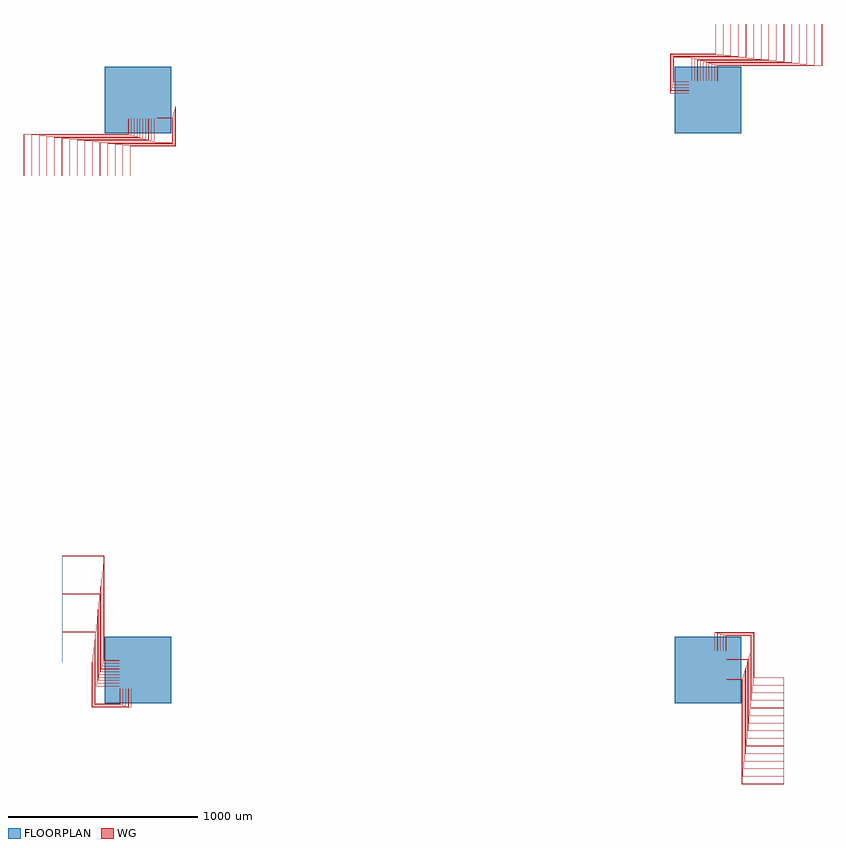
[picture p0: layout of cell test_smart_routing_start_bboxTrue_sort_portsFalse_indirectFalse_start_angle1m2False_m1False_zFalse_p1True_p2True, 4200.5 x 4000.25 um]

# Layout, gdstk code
import gdstk
lib = gdstk.Library(unit=1e-6, precision=1e-09)
def R(c, l, rs):  # rectangles x0, y0, x1, y1
    for r in rs: c.add(gdstk.rectangle(r[:2], r[2:], *l))
def P(c, l, *ps):  # polygons
    for p in ps: c.add(gdstk.Polygon(p, *l))
WG = (1, 0)
FLOORPLAN = (10, 0)

test_smart_routing_start = lib.new_cell('test_smart_routing_start_bboxTrue_sort_portsFalse_indirectFalse_start_angle1m2False_m1False_zFalse_p1True_p2True')
P(test_smart_routing_start, WG, [(3049.75,3100),(3049.75,3179.5),(3599.75,3179.5),(3599.75,3400),(3599.95,3400),(3599.95,3179.3),(3049.95,3179.3),(3049.95,3100)],
  [(3050.05,3100),(3050.05,3179.2),(3600.05,3179.2),(3600.05,3400),(3600.25,3400),(3600.25,3179),(3050.25,3179),(3050.25,3100)],
  [(3034.75,3100),(3034.75,3184),(3559.75,3184),(3559.75,3400),(3559.95,3400),(3559.95,3183.8),(3034.95,3183.8),(3034.95,3100)],
  [(3035.05,3100),(3035.05,3183.7),(3560.05,3183.7),(3560.05,3400),(3560.25,3400),(3560.25,3183.5),(3035.25,3183.5),(3035.25,3100)],
  [(3019.75,3100),(3019.75,3188.5),(3519.75,3188.5),(3519.75,3400),(3519.95,3400),(3519.95,3188.3),(3019.95,3188.3),(3019.95,3100)],
  [(3020.05,3100),(3020.05,3188.2),(3520.05,3188.2),(3520.05,3400),(3520.25,3400),(3520.25,3188),(3020.25,3188),(3020.25,3100)],
  [(3004.75,3100),(3004.75,3193),(3479.75,3193),(3479.75,3400),(3479.95,3400),(3479.95,3192.8),(3004.95,3192.8),(3004.95,3100)],
  [(3005.05,3100),(3005.05,3192.7),(3480.05,3192.7),(3480.05,3400),(3480.25,3400),(3480.25,3192.5),(3005.25,3192.5),(3005.25,3100)],
  [(2989.75,3100),(2989.75,3197.5),(3439.75,3197.5),(3439.75,3400),(3439.95,3400),(3439.95,3197.3),(2989.95,3197.3),(2989.95,3100)],
  [(2990.05,3100),(2990.05,3197.2),(3440.05,3197.2),(3440.05,3400),(3440.25,3400),(3440.25,3197),(2990.25,3197),(2990.25,3100)],
  [(2974.75,3100),(2974.75,3202),(3399.75,3202),(3399.75,3400),(3399.95,3400),(3399.95,3201.8),(2974.95,3201.8),(2974.95,3100)],
  [(2975.05,3100),(2975.05,3201.7),(3400.05,3201.7),(3400.05,3400),(3400.25,3400),(3400.25,3201.5),(2975.25,3201.5),(2975.25,3100)],
  [(2959.75,3100),(2959.75,3206.5),(3359.75,3206.5),(3359.75,3400),(3359.95,3400),(3359.95,3206.3),(2959.95,3206.3),(2959.95,3100)],
  [(2960.05,3100),(2960.05,3206.2),(3360.05,3206.2),(3360.05,3400),(3360.25,3400),(3360.25,3206),(2960.25,3206),(2960.25,3100)],
  [(2944.75,3100),(2944.75,3211),(3319.75,3211),(3319.75,3400),(3319.95,3400),(3319.95,3210.8),(2944.95,3210.8),(2944.95,3100)],
  [(2945.05,3100),(2945.05,3210.7),(3320.05,3210.7),(3320.05,3400),(3320.25,3400),(3320.25,3210.5),(2945.25,3210.5),(2945.25,3100)],
  [(2929.75,3100),(2929.75,3215.5),(3279.75,3215.5),(3279.75,3400),(3279.95,3400),(3279.95,3215.3),(2929.95,3215.3),(2929.95,3100)],
  [(2930.05,3100),(2930.05,3215.2),(3280.05,3215.2),(3280.05,3400),(3280.25,3400),(3280.25,3215),(2930.25,3215),(2930.25,3100)],
  [(2914.75,3100),(2914.75,3220),(3239.75,3220),(3239.75,3400),(3239.95,3400),(3239.95,3219.8),(2914.95,3219.8),(2914.95,3100)],
  [(2915.05,3100),(2915.05,3219.7),(3240.05,3219.7),(3240.05,3400),(3240.25,3400),(3240.25,3219.5),(2915.25,3219.5),(2915.25,3100)],
  [(2802.5,3034.75),(2802.5,3242.5),(3039.75,3242.5),(3039.75,3400),(3039.95,3400),(3039.95,3242.3),(2802.7,3242.3),(2802.7,3034.95),(2900,3034.95),(2900,3034.75)],
  [(2802.8,3035.05),(2802.8,3242.2),(3040.05,3242.2),(3040.05,3400),(3040.25,3400),(3040.25,3242),(2803,3242),(2803,3035.25),(2900,3035.25),(2900,3035.05)],
  [(2807,3049.75),(2807,3238),(3079.75,3238),(3079.75,3400),(3079.95,3400),(3079.95,3237.8),(2807.2,3237.8),(2807.2,3049.95),(2900,3049.95),(2900,3049.75)],
  [(2807.3,3050.05),(2807.3,3237.7),(3080.05,3237.7),(3080.05,3400),(3080.25,3400),(3080.25,3237.5),(2807.5,3237.5),(2807.5,3050.25),(2900,3050.25),(2900,3050.05)],
  [(2811.5,3064.75),(2811.5,3233.5),(3119.75,3233.5),(3119.75,3400),(3119.95,3400),(3119.95,3233.3),(2811.7,3233.3),(2811.7,3064.95),(2900,3064.95),(2900,3064.75)],
  [(2811.8,3065.05),(2811.8,3233.2),(3120.05,3233.2),(3120.05,3400),(3120.25,3400),(3120.25,3233),(2812,3233),(2812,3065.25),(2900,3065.25),(2900,3065.05)],
  [(2816,3079.75),(2816,3229),(3159.75,3229),(3159.75,3400),(3159.95,3400),(3159.95,3228.8),(2816.2,3228.8),(2816.2,3079.95),(2900,3079.95),(2900,3079.75)],
  [(2816.3,3080.05),(2816.3,3228.7),(3160.05,3228.7),(3160.05,3400),(3160.25,3400),(3160.25,3228.5),(2816.5,3228.5),(2816.5,3080.25),(2900,3080.25),(2900,3080.05)],
  [(2820.5,3094.75),(2820.5,3224.5),(3199.75,3224.5),(3199.75,3400),(3199.95,3400),(3199.95,3224.3),(2820.7,3224.3),(2820.7,3094.95),(2900,3094.95),(2900,3094.75)],
  [(2820.8,3095.05),(2820.8,3224.2),(3200.05,3224.2),(3200.05,3400),(3200.25,3400),(3200.25,3224),(2821,3224),(2821,3095.25),(2900,3095.25),(2900,3095.05)],
  [(-600.25,2600),(-600.25,2821),(-50.25,2821),(-50.25,2900),(-50.05,2900),(-50.05,2820.8),(-600.05,2820.8),(-600.05,2600)],
  [(-599.95,2600),(-599.95,2820.7),(-49.95,2820.7),(-49.95,2900),(-49.75,2900),(-49.75,2820.5),(-599.75,2820.5),(-599.75,2600)],
  [(-560.25,2600),(-560.25,2816.5),(-35.25,2816.5),(-35.25,2900),(-35.05,2900),(-35.05,2816.3),(-560.05,2816.3),(-560.05,2600)],
  [(-559.95,2600),(-559.95,2816.2),(-34.95,2816.2),(-34.95,2900),(-34.75,2900),(-34.75,2816),(-559.75,2816),(-559.75,2600)],
  [(-520.25,2600),(-520.25,2812),(-20.25,2812),(-20.25,2900),(-20.05,2900),(-20.05,2811.8),(-520.05,2811.8),(-520.05,2600)],
  [(-519.95,2600),(-519.95,2811.7),(-19.95,2811.7),(-19.95,2900),(-19.75,2900),(-19.75,2811.5),(-519.75,2811.5),(-519.75,2600)],
  [(-480.25,2600),(-480.25,2807.5),(-5.25,2807.5),(-5.25,2900),(-5.05,2900),(-5.05,2807.3),(-480.05,2807.3),(-480.05,2600)],
  [(-479.95,2600),(-479.95,2807.2),(-4.95,2807.2),(-4.95,2900),(-4.75,2900),(-4.75,2807),(-479.75,2807),(-479.75,2600)],
  [(-440.25,2600),(-440.25,2803),(9.75,2803),(9.75,2900),(9.95,2900),(9.95,2802.8),(-440.05,2802.8),(-440.05,2600)],
  [(-439.95,2600),(-439.95,2802.7),(10.05,2802.7),(10.05,2900),(10.25,2900),(10.25,2802.5),(-439.75,2802.5),(-439.75,2600)],
  [(-400.25,2600),(-400.25,2798.5),(24.75,2798.5),(24.75,2900),(24.95,2900),(24.95,2798.3),(-400.05,2798.3),(-400.05,2600)],
  [(-399.95,2600),(-399.95,2798.2),(25.05,2798.2),(25.05,2900),(25.25,2900),(25.25,2798),(-399.75,2798),(-399.75,2600)],
  [(-360.25,2600),(-360.25,2794),(39.75,2794),(39.75,2900),(39.95,2900),(39.95,2793.8),(-360.05,2793.8),(-360.05,2600)],
  [(-359.95,2600),(-359.95,2793.7),(40.05,2793.7),(40.05,2900),(40.25,2900),(40.25,2793.5),(-359.75,2793.5),(-359.75,2600)],
  [(-320.25,2600),(-320.25,2789.5),(54.75,2789.5),(54.75,2900),(54.95,2900),(54.95,2789.3),(-320.05,2789.3),(-320.05,2600)],
  [(-319.95,2600),(-319.95,2789.2),(55.05,2789.2),(55.05,2900),(55.25,2900),(55.25,2789),(-319.75,2789),(-319.75,2600)],
  [(-280.25,2600),(-280.25,2785),(69.75,2785),(69.75,2900),(69.95,2900),(69.95,2784.8),(-280.05,2784.8),(-280.05,2600)],
  [(-279.95,2600),(-279.95,2784.7),(70.05,2784.7),(70.05,2900),(70.25,2900),(70.25,2784.5),(-279.75,2784.5),(-279.75,2600)],
  [(-240.25,2600),(-240.25,2780.5),(84.75,2780.5),(84.75,2900),(84.95,2900),(84.95,2780.3),(-240.05,2780.3),(-240.05,2600)],
  [(-239.95,2600),(-239.95,2780.2),(85.05,2780.2),(85.05,2900),(85.25,2900),(85.25,2780),(-239.75,2780),(-239.75,2600)],
  [(-40.25,2600),(-40.25,2758),(197,2758),(197,2964.75),(100,2964.75),(100,2964.95),(197.2,2964.95),(197.2,2757.8),(-40.05,2757.8),(-40.05,2600)],
  [(-39.95,2600),(-39.95,2757.7),(197.3,2757.7),(197.3,2965.05),(100,2965.05),(100,2965.25),(197.5,2965.25),(197.5,2757.5),(-39.75,2757.5),(-39.75,2600)],
  [(-80.25,2600),(-80.25,2762.5),(192.5,2762.5),(192.5,2949.75),(100,2949.75),(100,2949.95),(192.7,2949.95),(192.7,2762.3),(-80.05,2762.3),(-80.05,2600)],
  [(-79.95,2600),(-79.95,2762.2),(192.8,2762.2),(192.8,2950.05),(100,2950.05),(100,2950.25),(193,2950.25),(193,2762),(-79.75,2762),(-79.75,2600)],
  [(-120.25,2600),(-120.25,2767),(188,2767),(188,2934.75),(100,2934.75),(100,2934.95),(188.2,2934.95),(188.2,2766.8),(-120.05,2766.8),(-120.05,2600)],
  [(-119.95,2600),(-119.95,2766.7),(188.3,2766.7),(188.3,2935.05),(100,2935.05),(100,2935.25),(188.5,2935.25),(188.5,2766.5),(-119.75,2766.5),(-119.75,2600)],
  [(-160.25,2600),(-160.25,2771.5),(183.5,2771.5),(183.5,2919.75),(100,2919.75),(100,2919.95),(183.7,2919.95),(183.7,2771.3),(-160.05,2771.3),(-160.05,2600)],
  [(-159.95,2600),(-159.95,2771.2),(183.8,2771.2),(183.8,2920.05),(100,2920.05),(100,2920.25),(184,2920.25),(184,2771),(-159.75,2771),(-159.75,2600)],
  [(-200.25,2600),(-200.25,2776),(179,2776),(179,2904.75),(100,2904.75),(100,2904.95),(179.2,2904.95),(179.2,2775.8),(-200.05,2775.8),(-200.05,2600)],
  [(-199.95,2600),(-199.95,2775.7),(179.3,2775.7),(179.3,2905.05),(100,2905.05),(100,2905.25),(179.5,2905.25),(179.5,2775.5),(-199.75,2775.5),(-199.75,2600)],
  [(-179.5,49.75),(-179.5,599.75),(-400,599.75),(-400,599.95),(-179.3,599.95),(-179.3,49.95),(-100,49.95),(-100,49.75)],
  [(-179.2,50.05),(-179.2,600.05),(-400,600.05),(-400,600.25),(-179,600.25),(-179,50.25),(-100,50.25),(-100,50.05)],
  [(-184,34.75),(-184,559.75),(-400,559.75),(-400,559.95),(-183.8,559.95),(-183.8,34.95),(-100,34.95),(-100,34.75)],
  [(-183.7,35.05),(-183.7,560.05),(-400,560.05),(-400,560.25),(-183.5,560.25),(-183.5,35.25),(-100,35.25),(-100,35.05)],
  [(-188.5,19.75),(-188.5,519.75),(-400,519.75),(-400,519.95),(-188.3,519.95),(-188.3,19.95),(-100,19.95),(-100,19.75)],
  [(-188.2,20.05),(-188.2,520.05),(-400,520.05),(-400,520.25),(-188,520.25),(-188,20.25),(-100,20.25),(-100,20.05)],
  [(-193,4.75),(-193,479.75),(-400,479.75),(-400,479.95),(-192.8,479.95),(-192.8,4.95),(-100,4.95),(-100,4.75)],
  [(-192.7,5.05),(-192.7,480.05),(-400,480.05),(-400,480.25),(-192.5,480.25),(-192.5,5.25),(-100,5.25),(-100,5.05)],
  [(-197.5,-10.25),(-197.5,439.75),(-400,439.75),(-400,439.95),(-197.3,439.95),(-197.3,-10.05),(-100,-10.05),(-100,-10.25)],
  [(-197.2,-9.95),(-197.2,440.05),(-400,440.05),(-400,440.25),(-197,440.25),(-197,-9.75),(-100,-9.75),(-100,-9.95)],
  [(-202,-25.25),(-202,399.75),(-400,399.75),(-400,399.95),(-201.8,399.95),(-201.8,-25.05),(-100,-25.05),(-100,-25.25)],
  [(-201.7,-24.95),(-201.7,400.05),(-400,400.05),(-400,400.25),(-201.5,400.25),(-201.5,-24.75),(-100,-24.75),(-100,-24.95)],
  [(-206.5,-40.25),(-206.5,359.75),(-400,359.75),(-400,359.95),(-206.3,359.95),(-206.3,-40.05),(-100,-40.05),(-100,-40.25)],
  [(-206.2,-39.95),(-206.2,360.05),(-400,360.05),(-400,360.25),(-206,360.25),(-206,-39.75),(-100,-39.75),(-100,-39.95)],
  [(-211,-55.25),(-211,319.75),(-400,319.75),(-400,319.95),(-210.8,319.95),(-210.8,-55.05),(-100,-55.05),(-100,-55.25)],
  [(-210.7,-54.95),(-210.7,320.05),(-400,320.05),(-400,320.25),(-210.5,320.25),(-210.5,-54.75),(-100,-54.75),(-100,-54.95)],
  [(-215.5,-70.25),(-215.5,279.75),(-400,279.75),(-400,279.95),(-215.3,279.95),(-215.3,-70.05),(-100,-70.05),(-100,-70.25)],
  [(-215.2,-69.95),(-215.2,280.05),(-400,280.05),(-400,280.25),(-215,280.25),(-215,-69.75),(-100,-69.75),(-100,-69.95)],
  [(-220,-85.25),(-220,239.75),(-400,239.75),(-400,239.95),(-219.8,239.95),(-219.8,-85.05),(-100,-85.05),(-100,-85.25)],
  [(-219.7,-84.95),(-219.7,240.05),(-400,240.05),(-400,240.25),(-219.5,240.25),(-219.5,-84.75),(-100,-84.75),(-100,-84.95)],
  [(-242.5,-197.5),(-242.5,39.75),(-400,39.75),(-400,39.95),(-242.3,39.95),(-242.3,-197.3),(-34.95,-197.3),(-34.95,-100),(-34.75,-100),(-34.75,-197.5)],
  [(-242.2,-197.2),(-242.2,40.05),(-400,40.05),(-400,40.25),(-242,40.25),(-242,-197),(-35.25,-197),(-35.25,-100),(-35.05,-100),(-35.05,-197.2)],
  [(-238,-193),(-238,79.75),(-400,79.75),(-400,79.95),(-237.8,79.95),(-237.8,-192.8),(-49.95,-192.8),(-49.95,-100),(-49.75,-100),(-49.75,-193)],
  [(-237.7,-192.7),(-237.7,80.05),(-400,80.05),(-400,80.25),(-237.5,80.25),(-237.5,-192.5),(-50.25,-192.5),(-50.25,-100),(-50.05,-100),(-50.05,-192.7)],
  [(-233.5,-188.5),(-233.5,119.75),(-400,119.75),(-400,119.95),(-233.3,119.95),(-233.3,-188.3),(-64.95,-188.3),(-64.95,-100),(-64.75,-100),(-64.75,-188.5)],
  [(-233.2,-188.2),(-233.2,120.05),(-400,120.05),(-400,120.25),(-233,120.25),(-233,-188),(-65.25,-188),(-65.25,-100),(-65.05,-100),(-65.05,-188.2)],
  [(-229,-184),(-229,159.75),(-400,159.75),(-400,159.95),(-228.8,159.95),(-228.8,-183.8),(-79.95,-183.8),(-79.95,-100),(-79.75,-100),(-79.75,-184)],
  [(-228.7,-183.7),(-228.7,160.05),(-400,160.05),(-400,160.25),(-228.5,160.25),(-228.5,-183.5),(-80.25,-183.5),(-80.25,-100),(-80.05,-100),(-80.05,-183.7)],
  [(-224.5,-179.5),(-224.5,199.75),(-400,199.75),(-400,199.95),(-224.3,199.95),(-224.3,-179.3),(-94.95,-179.3),(-94.95,-100),(-94.75,-100),(-94.75,-179.5)],
  [(-224.2,-179.2),(-224.2,200.05),(-400,200.05),(-400,200.25),(-224,200.25),(-224,-179),(-95.25,-179),(-95.25,-100),(-95.05,-100),(-95.05,-179.2)],
  [(3179,-600.25),(3179,-50.25),(3100,-50.25),(3100,-50.05),(3179.2,-50.05),(3179.2,-600.05),(3400,-600.05),(3400,-600.25)],
  [(3179.3,-599.95),(3179.3,-49.95),(3100,-49.95),(3100,-49.75),(3179.5,-49.75),(3179.5,-599.75),(3400,-599.75),(3400,-599.95)],
  [(3183.5,-560.25),(3183.5,-35.25),(3100,-35.25),(3100,-35.05),(3183.7,-35.05),(3183.7,-560.05),(3400,-560.05),(3400,-560.25)],
  [(3183.8,-559.95),(3183.8,-34.95),(3100,-34.95),(3100,-34.75),(3184,-34.75),(3184,-559.75),(3400,-559.75),(3400,-559.95)],
  [(3188,-520.25),(3188,-20.25),(3100,-20.25),(3100,-20.05),(3188.2,-20.05),(3188.2,-520.05),(3400,-520.05),(3400,-520.25)],
  [(3188.3,-519.95),(3188.3,-19.95),(3100,-19.95),(3100,-19.75),(3188.5,-19.75),(3188.5,-519.75),(3400,-519.75),(3400,-519.95)],
  [(3192.5,-480.25),(3192.5,-5.25),(3100,-5.25),(3100,-5.05),(3192.7,-5.05),(3192.7,-480.05),(3400,-480.05),(3400,-480.25)],
  [(3192.8,-479.95),(3192.8,-4.95),(3100,-4.95),(3100,-4.75),(3193,-4.75),(3193,-479.75),(3400,-479.75),(3400,-479.95)],
  [(3197,-440.25),(3197,9.75),(3100,9.75),(3100,9.95),(3197.2,9.95),(3197.2,-440.05),(3400,-440.05),(3400,-440.25)],
  [(3197.3,-439.95),(3197.3,10.05),(3100,10.05),(3100,10.25),(3197.5,10.25),(3197.5,-439.75),(3400,-439.75),(3400,-439.95)],
  [(3201.5,-400.25),(3201.5,24.75),(3100,24.75),(3100,24.95),(3201.7,24.95),(3201.7,-400.05),(3400,-400.05),(3400,-400.25)],
  [(3201.8,-399.95),(3201.8,25.05),(3100,25.05),(3100,25.25),(3202,25.25),(3202,-399.75),(3400,-399.75),(3400,-399.95)],
  [(3206,-360.25),(3206,39.75),(3100,39.75),(3100,39.95),(3206.2,39.95),(3206.2,-360.05),(3400,-360.05),(3400,-360.25)],
  [(3206.3,-359.95),(3206.3,40.05),(3100,40.05),(3100,40.25),(3206.5,40.25),(3206.5,-359.75),(3400,-359.75),(3400,-359.95)],
  [(3210.5,-320.25),(3210.5,54.75),(3100,54.75),(3100,54.95),(3210.7,54.95),(3210.7,-320.05),(3400,-320.05),(3400,-320.25)],
  [(3210.8,-319.95),(3210.8,55.05),(3100,55.05),(3100,55.25),(3211,55.25),(3211,-319.75),(3400,-319.75),(3400,-319.95)],
  [(3215,-280.25),(3215,69.75),(3100,69.75),(3100,69.95),(3215.2,69.95),(3215.2,-280.05),(3400,-280.05),(3400,-280.25)],
  [(3215.3,-279.95),(3215.3,70.05),(3100,70.05),(3100,70.25),(3215.5,70.25),(3215.5,-279.75),(3400,-279.75),(3400,-279.95)],
  [(3219.5,-240.25),(3219.5,84.75),(3100,84.75),(3100,84.95),(3219.7,84.95),(3219.7,-240.05),(3400,-240.05),(3400,-240.25)],
  [(3219.8,-239.95),(3219.8,85.05),(3100,85.05),(3100,85.25),(3220,85.25),(3220,-239.75),(3400,-239.75),(3400,-239.95)],
  [(3242,-40.25),(3242,197),(3035.25,197),(3035.25,100),(3035.05,100),(3035.05,197.2),(3242.2,197.2),(3242.2,-40.05),(3400,-40.05),(3400,-40.25)],
  [(3242.3,-39.95),(3242.3,197.3),(3034.95,197.3),(3034.95,100),(3034.75,100),(3034.75,197.5),(3242.5,197.5),(3242.5,-39.75),(3400,-39.75),(3400,-39.95)],
  [(3237.5,-80.25),(3237.5,192.5),(3050.25,192.5),(3050.25,100),(3050.05,100),(3050.05,192.7),(3237.7,192.7),(3237.7,-80.05),(3400,-80.05),(3400,-80.25)],
  [(3237.8,-79.95),(3237.8,192.8),(3049.95,192.8),(3049.95,100),(3049.75,100),(3049.75,193),(3238,193),(3238,-79.75),(3400,-79.75),(3400,-79.95)],
  [(3233,-120.25),(3233,188),(3065.25,188),(3065.25,100),(3065.05,100),(3065.05,188.2),(3233.2,188.2),(3233.2,-120.05),(3400,-120.05),(3400,-120.25)],
  [(3233.3,-119.95),(3233.3,188.3),(3064.95,188.3),(3064.95,100),(3064.75,100),(3064.75,188.5),(3233.5,188.5),(3233.5,-119.75),(3400,-119.75),(3400,-119.95)],
  [(3228.5,-160.25),(3228.5,183.5),(3080.25,183.5),(3080.25,100),(3080.05,100),(3080.05,183.7),(3228.7,183.7),(3228.7,-160.05),(3400,-160.05),(3400,-160.25)],
  [(3228.8,-159.95),(3228.8,183.8),(3079.95,183.8),(3079.95,100),(3079.75,100),(3079.75,184),(3229,184),(3229,-159.75),(3400,-159.75),(3400,-159.95)],
  [(3224,-200.25),(3224,179),(3095.25,179),(3095.25,100),(3095.05,100),(3095.05,179.2),(3224.2,179.2),(3224.2,-200.05),(3400,-200.05),(3400,-200.25)],
  [(3224.3,-199.95),(3224.3,179.3),(3094.95,179.3),(3094.95,100),(3094.75,100),(3094.75,179.5),(3224.5,179.5),(3224.5,-199.75),(3400,-199.75),(3400,-199.95)])
R(test_smart_routing_start, FLOORPLAN, [(-175,-175,175,175), (2825,-175,3175,175), (-175,2825,175,3175), (2825,2825,3175,3175)])
P(test_smart_routing_start, FLOORPLAN, [(-400,40),(-400,600),(-400,600),(-400,40)],
  [(-600,2600),(-600,2600),(-40,2600),(-40,2600)],
  [(3400,-600),(3400,-40),(3400,-40),(3400,-600)],
  [(3040,3400),(3040,3400),(3600,3400),(3600,3400)])

lib.write_gds('test_smart_routing_start_bboxTrue_sort_portsFalse_indirectFalse_start_angle1m2False_m1False_zFalse_p1True_p2True.gds')
